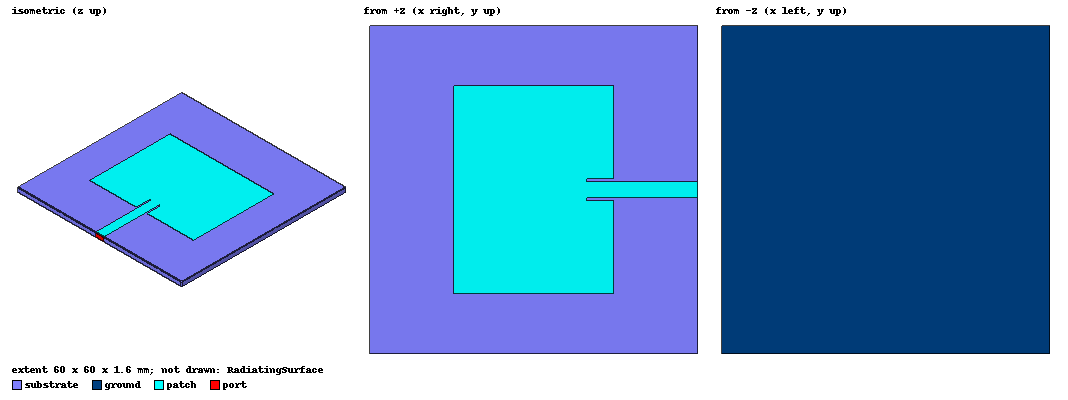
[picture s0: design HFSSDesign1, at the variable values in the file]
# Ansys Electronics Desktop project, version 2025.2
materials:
  vacuum: permittivity=1
  FR4_epoxy: permittivity=4.4 dielectric_loss_tangent=0.02

design HFSSDesign1 (HFSS, HFSS Terminal Network, model units mm)
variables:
  a = 60mm
  b = 60mm
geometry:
  ground = rectangle(corner=(-30mm, -30mm, 0mm), x_size=a, y_size=b)
  substrate [FR4_epoxy] = box(corner=(-30mm, -30mm, 0mm), size=(a, b, 1.6mm))
  patch = rectangle(corner=(-14.7mm, -19mm, 1.6mm), x_size=29.4mm, y_size=38mm)
  tx = rectangle(corner=(9.7mm, -1.53mm, 1.6mm), x_size=20.3mm, y_size=3.06mm)
  Rectangle1 = rectangle(corner=(9.7mm, -2mm, 1.6mm), x_size=5mm, y_size=4mm)
  patch.subtract(Rectangle1)
  patch.unite(tx)
  port = rectangle(corner=(30mm, -1.53mm, 1.6mm), y_size=3.06mm, z_size=-1.6mm)
  RadiatingSurface [vacuum] = region(absolute_offset=41.666667mm on all sides)
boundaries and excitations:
  PerfE1: Perfect E Objects=ground
  PerfE2: Perfect E Objects=patch
  Open1: Radiation Objects=RadiatingSurface
  1: Lumped Port Objects=port LumpedPortType=Modal Modes{Mode1{IntLine{(30, 0.2, 0) -> (30, 0.2, 1.6)} CharImp=Zpi}} Impedance=50ohm
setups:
  Setup1: HfssDriven Frequency=2.4GHz MaxDeltaS=0.02 MaximumPasses=6 MinimumPasses=1 MinimumConvergedPasses=1 PercentRefinement=30 BasisOrder=1 PortAccuracy=2 DrivenSolverType="Direct Solver"
    sweep Sweep: 1.2GHz to 3.6GHz, 401 points; Type=Interpolating InterpTolerance=0.5 InterpMaxSolns=250 PassivityErrorTolerance=0.0001
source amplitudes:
  1:1: 1V 0deg
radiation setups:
  3D: Infinite Sphere Theta=0deg..180deg step 2deg Phi=-180deg..180deg step 2deg
  Elevation: Infinite Sphere Theta=-180deg..180deg step 1deg Phi=0deg..90deg step 90deg
  Azimuth: Infinite Sphere Theta=90deg..90deg step 0deg Phi=-180deg..180deg step 1deg
  3d: Infinite Sphere Theta=-180deg..180deg step 0deg Phi=-180deg..180deg step 2deg
  azimuth: Infinite Sphere Theta=90deg..90deg step 0deg Phi=-180deg..180deg step 2deg
  elevation: Infinite Sphere Theta=-180deg..180deg step 2deg Phi=0deg..90deg step 90deg
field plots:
  Mag_E1: E Field over patch.face(at (7.65, 0, 1.6)) on Setup1 : LastAdaptive at Freq=2.4GHz Phase=0deg
  Mag_E2: E Field in RadiatingSurface on Setup1 : LastAdaptive at Freq=2.4GHz Phase=0deg
  Mag_H1: H Field in RadiatingSurface on Setup1 : LastAdaptive at Freq=2.4GHz Phase=0deg
  Mag_H2: H Field over patch.face(at (7.65, 0, 1.6)) on Setup1 : LastAdaptive at Freq=2.4GHz Phase=0deg
  Mag_H3: H Field over ground.face on Setup1 : LastAdaptive at Freq=2.4GHz Phase=90deg
  Mag_E3: E Field over ground.face on Setup1 : LastAdaptive at Freq=2.4GHz Phase=0deg
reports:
  S Parameter Plot1: dB(S(1,1)) vs Freq on Setup1 : Sweep; markers MX1 at x=2.3342837e+09
  Gain Plot1: GainTotal vs Phi, Theta on Setup1 : LastAdaptive, 3D [Freq=2.4GHz]
  Gain Plot2: dB(GainTotal) vs Phi, Theta on Setup1 : LastAdaptive, 3D [Freq=2.4GHz]
  Gain Plot3: GainTotal vs Theta on Setup1 : LastAdaptive, 3d [Phi=all Freq=2.4GHz]
  Gain Plot4: ang_deg(GainTotal) vs Phi on Setup1 : LastAdaptive, azimuth [Theta=all Freq=2.4GHz]
  Gain Plot5: ang_deg(GainTotal) vs Theta on Setup1 : LastAdaptive, elevation [Phi=all Freq=2.4GHz]
  azimuth: dBc(GainTotal) vs Phi on Setup1 : LastAdaptive, azimuth [Theta=all Freq=2.4GHz]
  elevation: dBc(GainTotal) vs Theta on Setup1 : LastAdaptive, elevation [Phi=all Freq=2.4GHz]
